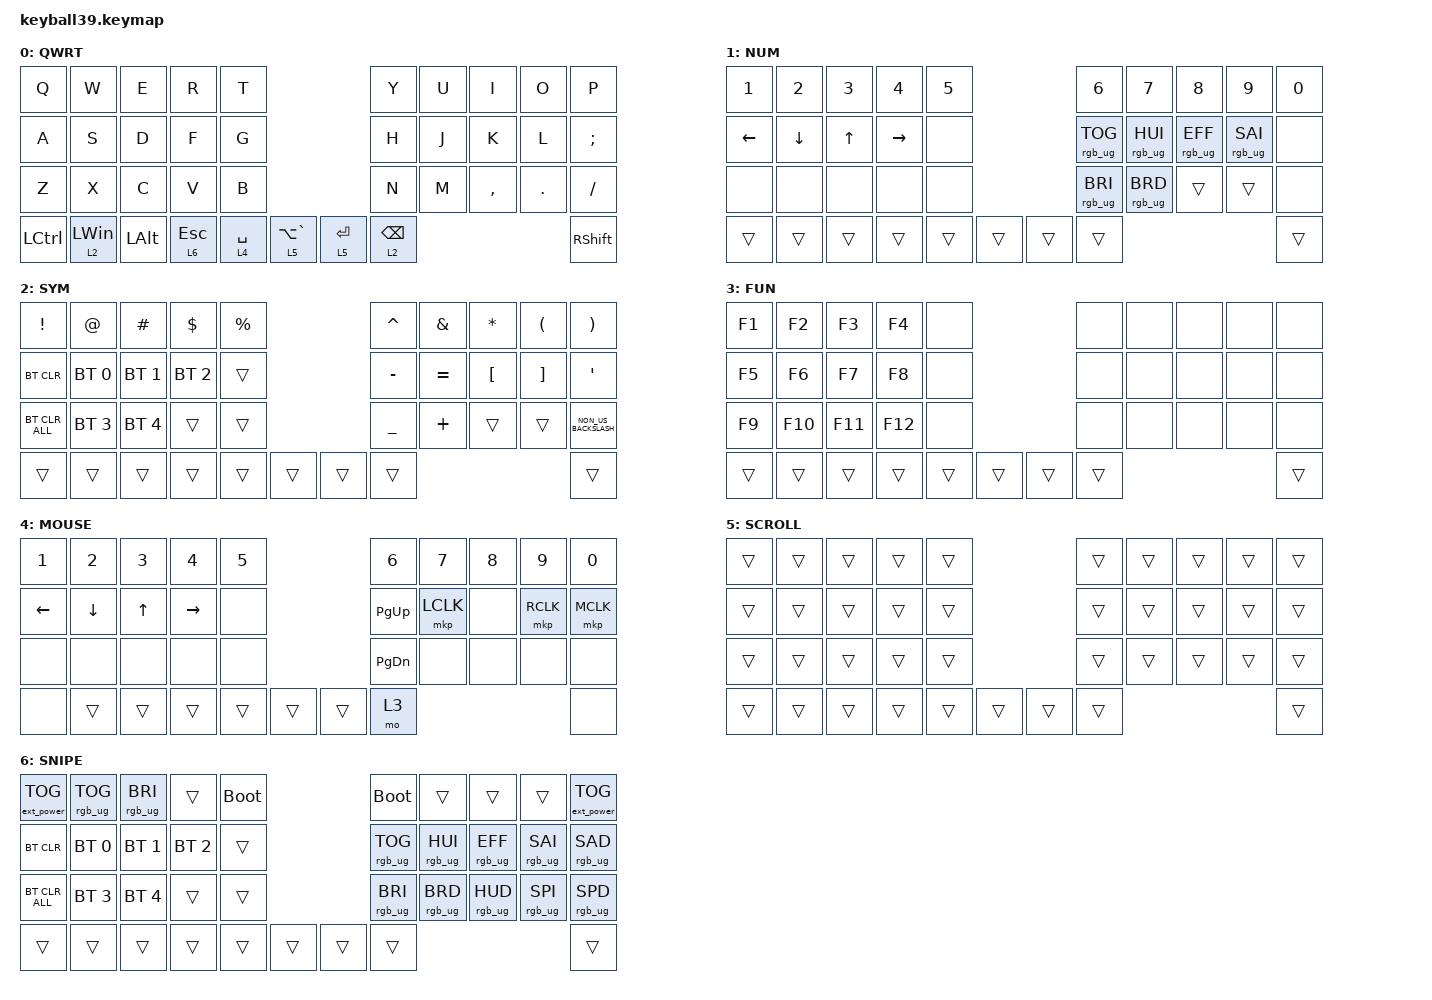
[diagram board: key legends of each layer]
#define DEFAULT 0
#define NUM     1
#define SYM     2
#define FUN     3
#define MOUSE   4
#define SCROLL  5
#define SNIPE   6

#include <behaviors/mouse_keys.dtsi>
#include <dt-bindings/zmk/mouse.h>
#include <behaviors.dtsi>
#include <dt-bindings/zmk/bt.h>
#include <dt-bindings/zmk/keys.h>
#include <dt-bindings/zmk/rgb.h>
#include <dt-bindings/zmk/ext_power.h>

&lt {
    tapping-term-ms = <240>;
    flavor = "balanced";
    quick-tap-ms = <150>;
};

&mt {
    tapping-term-ms = <200>;
    flavor = "tap-preferred";
    quick-tap-ms = <150>;
};

&caps_word { continue-list = <UNDERSCORE MINUS>; };

/ {
    // custom shift using mod-morph 

    behaviors {
        cmqus: comma_question {
            compatible = "zmk,behavior-mod-morph";
            label = "COMMA_QUESTION";
            #binding-cells = <0>;
            bindings = <&kp COMMA>, <&kp QUESTION>;

            mods = <(MOD_LSFT|MOD_RSFT)>;
        };

        dtsmi: dot_semi {
            compatible = "zmk,behavior-mod-morph";
            label = "DOT_SEMI";
            #binding-cells = <0>;
            bindings = <&kp DOT>, <&kp SEMI>;

            mods = <(MOD_LSFT|MOD_RSFT)>;
        };
    };

    macros {
        Hiragana: Hiragana {
            compatible = "zmk,behavior-macro";
            #binding-cells = <0>;
            bindings = <&kp LC(SPACE)>;
            label = "HIRAGANA";
        };
    };

    keymap {
        compatible = "zmk,keymap";

        default_layer {
            label = "QWRT";
            bindings = <
&kp Q      &kp W         &kp E     &kp R         &kp T                                    &kp Y            &kp U  &kp I      &kp O    &kp P
&kp A      &kp S         &kp D     &kp F         &kp G                                    &kp H            &kp J  &kp K      &kp L    &kp SEMI
&kp Z      &kp X         &kp C     &kp V         &kp B                                    &kp N            &kp M  &kp COMMA  &kp DOT  &kp SLASH
&kp LCTRL  &lt 2 LEFT_WIN  &kp LALT  &lt 6 ESCAPE  &lt 4 SPACE  &lt 5 LA(GRAVE)  &lt 5 ENTER  &lt 2 BACKSPACE                             &kp RSHFT
            >;
        };

        number_layer {
            label = "NUM";
            bindings = <
&kp NUMBER_1  &kp NUMBER_2  &kp NUMBER_3  &kp NUMBER_4  &kp NUMBER_5                  &kp NUMBER_6  &kp NUMBER_7  &kp NUMBER_8  &kp NUMBER_9  &kp NUMBER_0
&kp LEFT      &kp DOWN      &kp UP_ARROW  &kp RIGHT     &none                         &rgb_ug RGB_TOG &rgb_ug RGB_HUI &rgb_ug RGB_EFF &rgb_ug RGB_SAI &none
&none         &none         &none         &none         &none                         &rgb_ug RGB_BRI &rgb_ug RGB_BRD &trans        &trans        &none
&trans        &trans        &trans        &trans        &trans        &trans  &trans  &trans                                                  &trans
            >;
        };

        symbol_layer {
            label = "SYM";
            bindings = <
&kp EXCLAMATION  &kp AT_SIGN   &kp HASH      &kp DOLLAR    &kp PERCENT                  &kp CARET       &kp AMPERSAND  &kp ASTERISK      &kp LEFT_PARENTHESIS  &kp RIGHT_PARENTHESIS
&bt BT_CLR       &bt BT_SEL 0  &bt BT_SEL 1  &bt BT_SEL 2  &trans                       &kp MINUS       &kp EQUAL      &kp LEFT_BRACKET  &kp RIGHT_BRACKET     &kp SQT
&bt BT_CLR_ALL   &bt BT_SEL 3  &bt BT_SEL 4  &trans        &trans                       &kp UNDERSCORE  &kp PLUS       &trans            &trans                &kp NON_US_BACKSLASH
&trans           &trans        &trans        &trans        &trans       &trans  &trans  &trans                                                                 &trans
            >;
        };

        function_layer {
            label = "FUN";
            bindings = <
&kp F1  &kp F2   &kp F3   &kp F4   &none                   &none   &none  &none  &none  &none
&kp F5  &kp F6   &kp F7   &kp F8   &none                   &none   &none  &none  &none  &none
&kp F9  &kp F10  &kp F11  &kp F12  &none                   &none   &none  &none  &none  &none
&trans  &trans   &trans   &trans   &trans  &trans  &trans  &trans                       &trans
            >;
        };

        mouse_layer {
            label = "MOUSE";
            bindings = <
&kp N1          &kp N2          &kp N3        &kp N4     &kp N5                  &kp N6         &kp N7     &kp N8  &kp N9     &kp N0
&kp LEFT_ARROW  &kp DOWN_ARROW  &kp UP_ARROW  &kp RIGHT  &none                   &kp PAGE_UP    &mkp LCLK  &none   &mkp RCLK  &mkp MCLK
&none           &none           &none         &none      &none                   &kp PAGE_DOWN  &none      &none   &none      &none
&none           &trans          &trans        &trans     &trans  &trans  &trans  &mo 3                                        &none
            >;
        };

        scroll_layer {
            label = "SCROLL";
            bindings = <
&trans  &trans  &trans  &trans  &trans                  &trans  &trans  &trans  &trans  &trans
&trans  &trans  &trans  &trans  &trans                  &trans  &trans  &trans  &trans  &trans
&trans  &trans  &trans  &trans  &trans                  &trans  &trans  &trans  &trans  &trans
&trans  &trans  &trans  &trans  &trans  &trans  &trans  &trans                          &trans
            >;
        };

        snipe_layer {
            label = "SNIPE";
            bindings = <
&ext_power EP_TOG  &rgb_ug RGB_TOG  &rgb_ug RGB_BRI  &trans  &bootloader                  &bootloader  &trans  &trans  &trans  &ext_power EP_TOG
&bt BT_CLR       &bt BT_SEL 0  &bt BT_SEL 1  &bt BT_SEL 2  &trans                       &rgb_ug RGB_TOG &rgb_ug RGB_HUI &rgb_ug RGB_EFF &rgb_ug RGB_SAI &rgb_ug RGB_SAD
&bt BT_CLR_ALL   &bt BT_SEL 3  &bt BT_SEL 4  &trans  &trans                       &rgb_ug RGB_BRI &rgb_ug RGB_BRD  &rgb_ug RGB_HUD  &rgb_ug RGB_SPI  &rgb_ug RGB_SPD
&trans  &trans  &trans  &trans  &trans       &trans  &trans  &trans                          &trans
            >;
        };
    };
};

